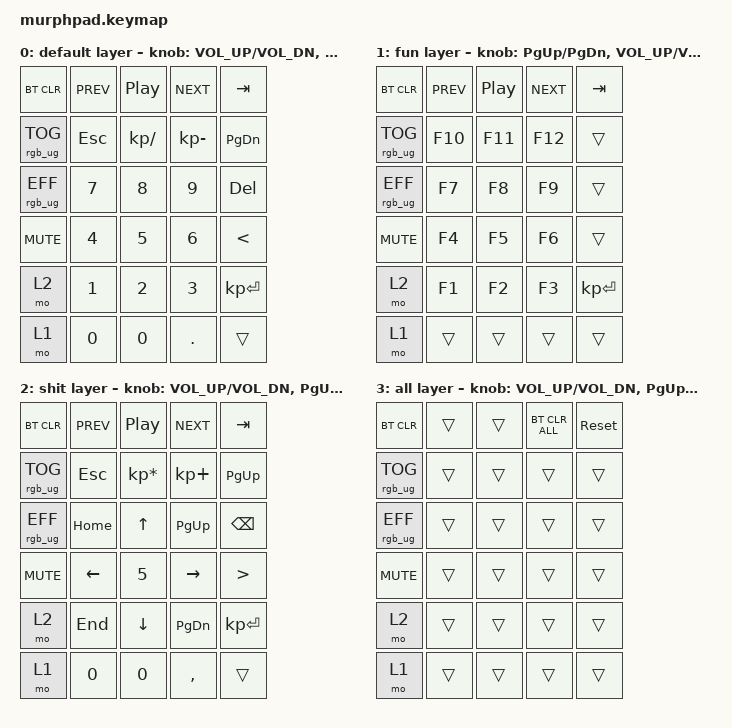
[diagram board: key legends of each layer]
/*
 * Copyright (c) 2021 The ZMK Contributors
 *
 * SPDX-License-Identifier: MIT
 */

#include <behaviors.dtsi>
#include <dt-bindings/zmk/bt.h>
#include <dt-bindings/zmk/keys.h>
#include <dt-bindings/zmk/rgb.h>

#define TIMEOUT 300

&encoder_1 {
    status = "okay";
};

&encoder_2 {
    status = "okay";
};

/ {
    combos {
        compatible = "zmk,combos";

        combo_btclr {
            timeout-ms = <TIMEOUT>;
            key-positions = <1 6>;
            bindings = <&bt BT_CLR>;
        };

        combo_reset {
            timeout-ms = <TIMEOUT>;
            key-positions = <1 3>;
            bindings = <&sys_reset>;
        };

        combo_bootloader {
            timeout-ms = <TIMEOUT>;
            key-positions = <1 2>;
            bindings = <&bootloader>;
        };

        combo_bt_nxt {
            timeout-ms = <TIMEOUT>;
            key-positions = <1 4>;
            bindings = <&bt BT_NXT>;
        };
    };

    sensors {
        compatible = "zmk,keymap-sensors";
        sensors = <&encoder_1 &encoder_2>;
        triggers-per-rotation = <20>;
    };

    keymap0: keymap {
        compatible = "zmk,keymap";

        default_layer {
        display-name = "default layer";
            bindings = <
&bt BT_CLR        &kp C_PREV  &kp C_PP       &kp C_NEXT    &kp TAB
&rgb_ug RGB_TOG   &kp ESC     &kp KP_DIVIDE  &kp KP_MINUS  &kp PAGE_DOWN
&rgb_ug RGB_EFF   &kp N7      &kp N8         &kp N9        &kp DELETE
&kp C_MUTE        &kp N4      &kp N5         &kp N6        &kp LT
&mo 2             &kp N1      &kp N2         &kp N3        &kp KP_ENTER
&mo 1             &kp N0      &kp N0         &kp DOT       &trans
            >;

            sensor-bindings = <&inc_dec_kp C_VOL_UP C_VOL_DN &inc_dec_kp PG_UP PG_DN>;
        };

        fun_layer {
        display-name = "fun layer";
            bindings = <
&bt BT_CLR       &kp C_PREV   &kp C_PP       &kp C_NEXT    &kp TAB
&rgb_ug RGB_TOG  &kp F10      &kp F11        &kp F12       &trans
&rgb_ug RGB_EFF  &kp F7       &kp F8         &kp F9        &trans
&kp C_MUTE       &kp F4       &kp F5         &kp F6        &trans
&mo 2            &kp F1       &kp F2         &kp F3        &kp KP_ENTER
&mo 1            &trans       &trans         &trans        &trans
            >;

            sensor-bindings = <&inc_dec_kp PG_UP PG_DN &inc_dec_kp C_VOL_UP C_VOL_DN>;
        };

        shit_layer {
        display-name = "shit layer";
            bindings = <
&bt BT_CLR       &kp C_PREV   &kp C_PP       &kp C_NEXT    &kp TAB
&rgb_ug RGB_TOG  &kp ESC    &kp KP_MULTIPLY  &kp KP_PLUS   &kp PG_UP
&rgb_ug RGB_EFF  &kp HOME     &kp UP         &kp PG_UP     &kp BSPC
&kp C_MUTE       &kp LEFT     &kp N5         &kp RIGHT     &kp GT
&mo 2            &kp END      &kp DOWN       &kp PG_DN     &kp KP_ENTER
&mo 1            &kp N0       &kp N0         &kp COMMA     &trans
            >;

sensor-bindings = <&inc_dec_kp C_VOL_UP C_VOL_DN &inc_dec_kp PG_UP PG_DN>;
        };

        all_layer {
        display-name = "all layer";
            bindings = <
&bt BT_CLR       &trans  &trans  &bt BT_CLR_ALL  &sys_reset
&rgb_ug RGB_TOG  &trans  &trans  &trans  &trans
&rgb_ug RGB_EFF  &trans  &trans  &trans  &trans
&kp C_MUTE       &trans  &trans  &trans  &trans
&mo 2            &trans  &trans  &trans  &trans
&mo 1            &trans  &trans  &trans  &trans
            >;

sensor-bindings = <&inc_dec_kp C_VOL_UP C_VOL_DN &inc_dec_kp PG_UP PG_DN>;           
        };
    };

    conditional_layers {
        compatible = "zmk,conditional-layers";

        all {
            if-layers = <1 2>;
            then-layer = <3>;
        };
    };
};
